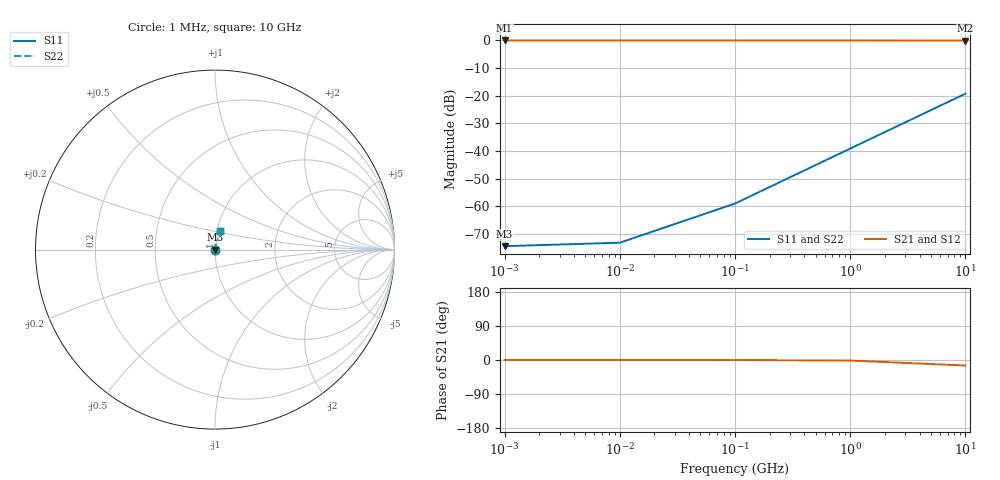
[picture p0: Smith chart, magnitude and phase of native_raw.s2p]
! Sonnet Data File
! From: em Version : 18.53-Lite
! From Project: project
! Data is NOT De-embedded
! Data File Written: 10/07/2026 06:27:16
!< HDATE 10/07/2026 06:27:16
!< MDATE 10/07/2026 06:27:16
# GHZ S RI R 50.00000
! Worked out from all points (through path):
!   5 points, 1 MHz to 10 GHz, reference 50 ohm
!   highest |S21| = 0.00 dB at 1 MHz (marker M1); lowest = -0.1 dB at 10 GHz (marker M2)
!   lowest |S11| = -74.4 dB at 1 MHz (marker M3), VSWR 1.00, Z = 50 + j0.00112 ohm
!   |S11| at or under -10 dB: start of sweep to end of sweep
!   |S22| runs from -74.4 to -19.3 dB; largest |S21 - S12| = 2.2e-13
0.001  0.000191 1.12e-05  0.9998 -2.57e-05  0.9998 -2.57e-05  0.000191 1.12e-05
0.01  0.000191 0.000111  0.9998 -0.000256  0.9998 -0.000256  0.000191 0.000111
0.1  0.000194 0.00111  0.9998 -0.00256  0.9998 -0.00256  0.000194 0.00111
1  0.000485 0.0111  0.9994 -0.0256  0.9994 -0.0256  0.000485 0.0111
10  0.028 0.1053  0.9614 -0.2504  0.9614 -0.2504  0.028 0.1053
